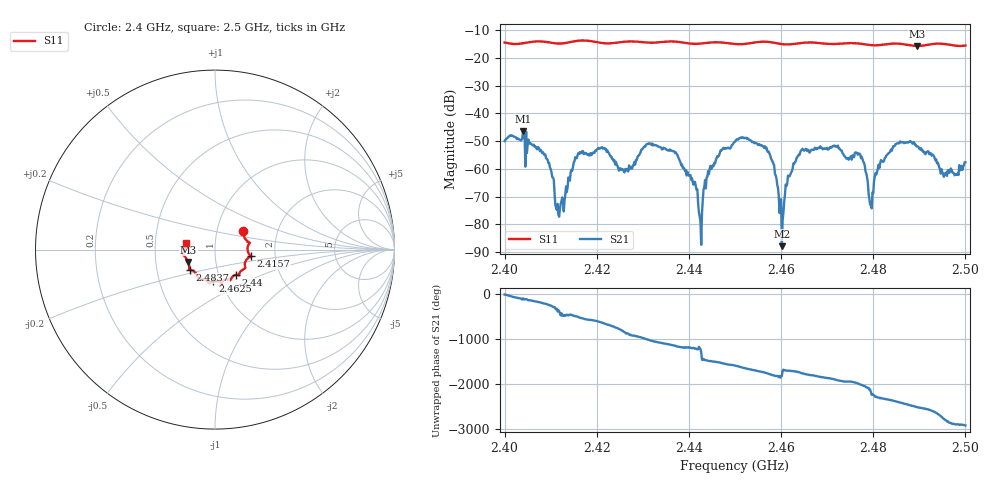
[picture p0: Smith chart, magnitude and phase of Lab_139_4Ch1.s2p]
# Hz S RI R 50
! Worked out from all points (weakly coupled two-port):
!   601 points, 2.4 GHz to 2.5 GHz, reference 50 ohm
!   highest |S21| = -46.46 dB at 2.404 GHz (marker M1); lowest = -87.8 dB at 2.4602 GHz (marker M2)
!   lowest |S11| = -15.7 dB at 2.4895 GHz (marker M3), VSWR 1.39, Z = 36.8 - j5.17 ohm
!   |S11| at or under -10 dB: start of sweep to end of sweep
!   S12 and S22 are empty: the file has one direction only
!   S11 on the Smith chart (normalised r, x): 2.4 GHz: 1.33, +0.29; 2.4157 GHz: 1.49, -0.11; 2.44 GHz: 1.21, -0.35; 2.4625 GHz: 0.92, -0.34; 2.4837 GHz: 0.74, -0.17; 2.5 GHz: 0.72, +0.05
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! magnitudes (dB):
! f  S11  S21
! 2.4 GHz  -14.5  -50.0
! 2.404 GHz  -14.8  -46.5
! 2.4092 GHz  -14.3  -56.4
! 2.4115 GHz  -14.8  -72.6
! 2.4157 GHz  -13.9  -56.1
! 2.4167 GHz  -13.8  -54.2
! 2.4263 GHz  -14.2  -60.0
! 2.4333 GHz  -14.4  -52.0
! 2.44 GHz  -14.8  -62.4
! 2.4425 GHz  -14.9  -78.8
! 2.4443 GHz  -14.5  -61.9
! 2.45 GHz  -15.0  -50.2
! 2.457 GHz  -14.2  -53.5
! 2.4602 GHz  -15.1  -87.8
! 2.4625 GHz  -15.1  -60.0
! 2.4667 GHz  -14.5  -53.1
! 2.4767 GHz  -14.8  -54.9
! 2.4795 GHz  -15.4  -72.9
! 2.4833 GHz  -15.0  -54.3
! 2.4837 GHz  -14.9  -53.8
! 2.4895 GHz  -15.7  -51.9
! 2.5 GHz  -15.6  -57.6
